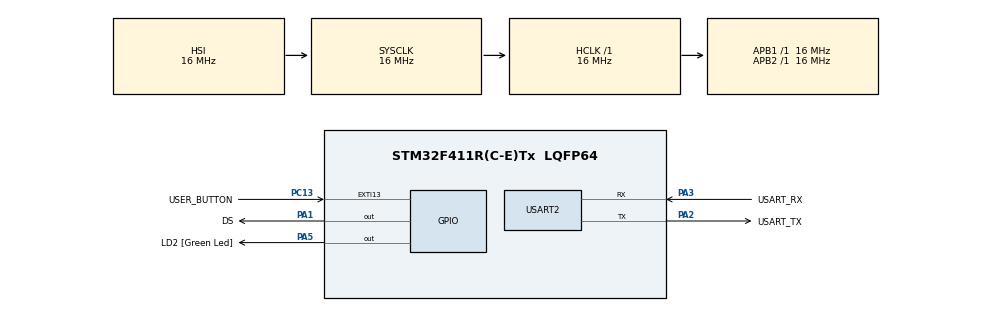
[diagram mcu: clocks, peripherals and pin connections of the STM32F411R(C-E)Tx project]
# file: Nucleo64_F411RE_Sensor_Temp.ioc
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Mcu.Family=STM32F4
Mcu.Name=STM32F411R(C-E)Tx
Mcu.Package=LQFP64
NVIC.EXTI15_10_IRQn=true\:8\:0\:true\:false\:true\:true\:true
NVIC.PriorityGroup=NVIC_PRIORITYGROUP_4
NVIC.RTC_WKUP_IRQn=true\:0\:0\:false\:false\:true\:true\:true
PA1.GPIO_Label=DS
PA1.GPIO_ModeDefaultOutputPP=GPIO_MODE_OUTPUT_OD
PA1.GPIO_PuPd=GPIO_PULLUP
PA1.Signal=GPIO_Output
PA13.GPIO_Label=TMS
PA13.Mode=Serial_Wire
PA13.Signal=SYS_JTMS-SWDIO
PA14.GPIO_Label=TCK
PA14.Mode=Serial_Wire
PA14.Signal=SYS_JTCK-SWCLK
PA2.GPIO_Label=USART_TX
PA2.Mode=Asynchronous
PA2.Signal=USART2_TX
PA3.GPIO_Label=USART_RX
PA3.Mode=Asynchronous
PA3.Signal=USART2_RX
PA5.GPIO_Label=LD2 [Green Led]
PA5.Signal=GPIO_Output
PB3.GPIO_Label=SWO
PB3.Signal=SYS_JTDO-SWO
PC13-ANTI_TAMP.GPIO_Label=USER_BUTTON
PC13-ANTI_TAMP.Signal=GPXTI13
PC14-OSC32_IN.Mode=LSE-External-Oscillator
PC14-OSC32_IN.Signal=RCC_OSC32_IN
PC15-OSC32_OUT.Mode=LSE-External-Oscillator
PC15-OSC32_OUT.Signal=RCC_OSC32_OUT
PH0\ -\ OSC_IN.Mode=HSE-External-Clock-Source
PH0\ -\ OSC_IN.Signal=RCC_OSC_IN
PH1\ -\ OSC_OUT.Mode=HSE-External-Clock-Source
PH1\ -\ OSC_OUT.Signal=RCC_OSC_OUT
ProjectManager.HeapSize=0x200
ProjectManager.StackSize=0x400
ProjectManager.TargetToolchain=STM32CubeIDE
RCC.48MHZClocksFreq_Value=25000000
RCC.AHBFreq_Value=16000000
RCC.APB1Freq_Value=16000000
RCC.APB1TimFreq_Value=16000000
RCC.APB2Freq_Value=16000000
RCC.APB2TimFreq_Value=16000000
RCC.CortexFreq_Value=16000000
RCC.HCLKFreq_Value=16000000
RCC.HSE_VALUE=25000000
RCC.HSI_VALUE=16000000
RCC.PLLM=8
RCC.PLLN=50
RCC.RCC_RTC_Clock_Source=RCC_RTCCLKSOURCE_LSE
RCC.RCC_RTC_Clock_SourceVirtual=RCC_RTCCLKSOURCE_LSE
RCC.SYSCLKFreq_VALUE=16000000
RCC.VCOOutputFreq_Value=100000000
RTC.WakeUpClock=RTC_WAKEUPCLOCK_CK_SPRE_16BITS
RTC.WakeUpCounter=4
TIM3.Prescaler=15
USART1.VirtualMode=VM_ASYNC
USART2.VirtualMode=VM_ASYNC
VP_RTC_VS_RTC_Activate.Mode=RTC_Enabled
VP_RTC_VS_RTC_WakeUp_intern.Mode=WakeUp
VP_TIM3_VS_ClockSourceINT.Mode=Internal
board=NUCLEO-F411RE

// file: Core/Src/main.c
/* USER CODE BEGIN Header */
/**
  ******************************************************************************
  * @file           : main.c
  * @brief          : Main program body
  ******************************************************************************
  * @attention
  *
  * Copyright (c) 2022 STMicroelectronics.
  * All rights reserved.
  *
  * This software is licensed under terms that can be found in the LICENSE file
  * in the root directory of this software component.
  * If no LICENSE file comes with this software, it is provided AS-IS.
  *
  ******************************************************************************
  * See https://forbot.pl/blog/kurs-stm32l4-termometry-ds18b20-1-wire-uart-id47771
  * See https://forbot.pl/blog/kurs-stm32l4-oszczedzanie-energii-5-lat-na-baterii-id46581
  */
/* USER CODE END Header */
#include "main.h"

/* USER CODE BEGIN Includes */
#include <stdio.h>
// #include <stdlib.h>
#include <string.h>
/* USER CODE END Includes */

/* USER CODE BEGIN PD */
// set to 1 to use microsecond delay, set to 0 to use 1-wire USART communication:
#define US_CLOCK_DELAY (1)
// set to zero if messaging USART is not to be used:
#define COMM_USART_ENABLED (1)
/* USER CODE END PD */

RTC_HandleTypeDef hrtc;

TIM_HandleTypeDef htim3;

UART_HandleTypeDef huart1;
UART_HandleTypeDef huart2;

void SystemClock_Config(void);
static void MX_GPIO_Init(void);
static void MX_TIM3_Init(void);
static void MX_RTC_Init(void);
static void MX_USART2_UART_Init(void);

/* USER CODE BEGIN 0 */

int __io_putchar(int ch)
{
#if COMM_USART_ENABLED
  if (ch == '\n') {
    __io_putchar('\r');
  }
  HAL_UART_Transmit(&huart2, (uint8_t*)&ch, 1, HAL_MAX_DELAY);
#endif
  return 1;
}

void HAL_Delay(uint32_t Delay)
{
  uint32_t tickstart = HAL_GetTick();
  uint32_t wait = Delay;

  /* Add a period to guaranty minimum wait */
  if (wait < HAL_MAX_DELAY)
  {
    wait += (uint32_t)uwTickFreq;
  }

  while ((HAL_GetTick() - tickstart) < wait)
  {
	  __WFI();
  }
}

void delay_us(uint32_t us)
{
  // TODO: assert: 'us' must be smaller than 2^16, this is max counter period for 16-bit timers
  __HAL_TIM_SET_COUNTER(&htim3, 0);
  while ((__HAL_TIM_GET_COUNTER(&htim3)) < us) {  }
}

#if ! US_CLOCK_DELAY
static void set_baudrate(uint32_t baudrate)
{
	huart1.Instance = USART1;
	huart1.Init.BaudRate = baudrate;
	huart1.Init.WordLength = UART_WORDLENGTH_8B;
	huart1.Init.StopBits = UART_STOPBITS_1;
	huart1.Init.Parity = UART_PARITY_NONE;
	huart1.Init.Mode = UART_MODE_TX_RX;
	huart1.Init.HwFlowCtl = UART_HWCONTROL_NONE;
	huart1.Init.OverSampling = UART_OVERSAMPLING_16;
	if (HAL_HalfDuplex_Init(&huart1) != HAL_OK)
	{
		Error_Handler();
	}
}
#endif

HAL_StatusTypeDef wire_reset(void)
{
#if US_CLOCK_DELAY
	  int rc;

	  HAL_GPIO_WritePin(DS_GPIO_Port, DS_Pin, GPIO_PIN_RESET);
	  delay_us(480);
	  HAL_GPIO_WritePin(DS_GPIO_Port, DS_Pin, GPIO_PIN_SET);
	  delay_us(70);
	  rc = HAL_GPIO_ReadPin(DS_GPIO_Port, DS_Pin);
	  delay_us(410);

	  if (rc == 0)
	    return HAL_OK;
	  else
	    return HAL_ERROR;
#else
  uint8_t data_out = 0xF0;
  uint8_t data_in = 0;

  set_baudrate(9600);
  HAL_UART_Transmit(&huart1, &data_out, 1, HAL_MAX_DELAY);
  HAL_UART_Receive(&huart1, &data_in, 1, HAL_MAX_DELAY);
  set_baudrate(115200);

  if (data_in != 0xF0)
    return HAL_OK;
  else
    return HAL_ERROR;
#endif
}

static void write_bit(int value)
{
#if US_CLOCK_DELAY
	  if (value) {
	    HAL_GPIO_WritePin(DS_GPIO_Port, DS_Pin, GPIO_PIN_RESET);
	    delay_us(6);
	    HAL_GPIO_WritePin(DS_GPIO_Port, DS_Pin, GPIO_PIN_SET);
	    delay_us(64);
	  } else {
	    HAL_GPIO_WritePin(DS_GPIO_Port, DS_Pin, GPIO_PIN_RESET);
	    delay_us(60);
	    HAL_GPIO_WritePin(DS_GPIO_Port, DS_Pin, GPIO_PIN_SET);
	    delay_us(10);
	  }
#else
  if (value) {
      uint8_t data_out = 0xff;
    HAL_UART_Transmit(&huart1, &data_out, 1, HAL_MAX_DELAY);
  } else {
      uint8_t data_out = 0x0;
    HAL_UART_Transmit(&huart1, &data_out, 1, HAL_MAX_DELAY);
  }
#endif
}

static int read_bit(void)
{
#if US_CLOCK_DELAY
	  int rc;
	  HAL_GPIO_WritePin(DS_GPIO_Port, DS_Pin, GPIO_PIN_RESET);
	  delay_us(6);
	  HAL_GPIO_WritePin(DS_GPIO_Port, DS_Pin, GPIO_PIN_SET);
	  delay_us(9);
	  rc = HAL_GPIO_ReadPin(DS_GPIO_Port, DS_Pin);
	  delay_us(55);
	  return rc;
#else
  uint8_t data_out = 0xFF;
  uint8_t data_in = 0;
  HAL_UART_Transmit(&huart1, &data_out, 1, HAL_MAX_DELAY);
  HAL_UART_Receive(&huart1, &data_in, 1, HAL_MAX_DELAY);
  return data_in & 0x01;
#endif
}

HAL_StatusTypeDef wire_init(void)
{
  return HAL_TIM_Base_Start(&htim3);
}

uint8_t wire_read(void)
{
  uint8_t value = 0;
  int i;
  for (i = 0; i < 8; i++) {
    value >>= 1;
    if (read_bit())
      value |= 0x80;
  }
  return value;
}

void wire_read_buf(uint8_t * buf, int len)
{
    for (int i = 0; i < len; i++) {
      buf[i] = wire_read();
    }
}

void wire_write(uint8_t byte)
{
  int i;
  for (i = 0; i < 8; i++) {
    write_bit(byte & 0x01);
    byte >>= 1;
  }
}

static uint8_t byte_crc(uint8_t crc, uint8_t byte)
{
  int i;
  for (i = 0; i < 8; i++) {
    uint8_t b = crc ^ byte;
    crc >>= 1;
    if (b & 0x01)
      crc ^= 0x8c;
    byte >>= 1;
  }
  return crc;
}

uint8_t wire_crc(const uint8_t* data, int len)
{
  int i;
    uint8_t crc = 0;

    for (i = 0; i < len; i++)
      crc = byte_crc(crc, data[i]);

    return crc;
}

#define DS18B20_ROM_CODE_SIZE		8
#define DS18B20_SCRATCHPAD_SIZE    9
#define DS18B20_READ_ROM           0x33
#define DS18B20_MATCH_ROM          0x55
#define DS18B20_SKIP_ROM           0xCC
#define DS18B20_CONVERT_T          0x44
#define DS18B20_READ_SCRATCHPAD    0xBE

HAL_StatusTypeDef ds18b20_init(void)
{
  return wire_init();
}

HAL_StatusTypeDef ds18b20_read_address(uint8_t* rom_code)
{
  int i;
  uint8_t crc;

  if (wire_reset() != HAL_OK)
    return HAL_ERROR;

  wire_write(DS18B20_READ_ROM);

  for (i = 0; i < DS18B20_ROM_CODE_SIZE; i++)
    rom_code[i] = wire_read();

  crc = wire_crc(rom_code, DS18B20_ROM_CODE_SIZE - 1);
  if (rom_code[DS18B20_ROM_CODE_SIZE - 1] == crc)
    return HAL_OK;
  else
    return HAL_ERROR;
}

static HAL_StatusTypeDef send_cmd(const uint8_t* rom_code, uint8_t cmd)
{
  int i;

  if (wire_reset() != HAL_OK)
    return HAL_ERROR;

  if (!rom_code) {
    wire_write(DS18B20_SKIP_ROM);
  } else {
    wire_write(DS18B20_MATCH_ROM);
    for (i = 0; i < DS18B20_ROM_CODE_SIZE; i++)
      wire_write(rom_code[i]);
  }
  wire_write(cmd);
  return HAL_OK;
}

HAL_StatusTypeDef ds18b20_start_measure(const uint8_t* rom_code)
{
  return send_cmd(rom_code, DS18B20_CONVERT_T);
}

static HAL_StatusTypeDef ds18b20_read_scratchpad(const uint8_t* rom_code, uint8_t* scratchpad)
{
  int i;
  uint8_t crc;

  if (send_cmd(rom_code, DS18B20_READ_SCRATCHPAD) != HAL_OK)
    return HAL_ERROR;

  for (i = 0; i < DS18B20_SCRATCHPAD_SIZE; i++)
    scratchpad[i] = wire_read();

  crc = wire_crc(scratchpad, DS18B20_SCRATCHPAD_SIZE - 1);
  if (scratchpad[DS18B20_SCRATCHPAD_SIZE - 1] == crc)
    return HAL_OK;
  else
    return HAL_ERROR;
}

float ds18b20_get_temp(const uint8_t* rom_code)
{
  uint8_t scratchpad[DS18B20_SCRATCHPAD_SIZE];
  int16_t temp;

  if (ds18b20_read_scratchpad(rom_code, scratchpad) != HAL_OK)
    return 85.0f;

  memcpy(&temp, &scratchpad[0], sizeof(temp));

  return temp / 16.0f;
}

volatile uint32_t push_counter;
void HAL_GPIO_EXTI_Callback(uint16_t GPIO_Pin)
{
  if (GPIO_Pin == USER_BUTTON_Pin) {
	  push_counter ++;
  }
}
/* USER CODE END 0 */

int main(void)
{

  /* MCU Configuration--------------------------------------------------------*/

  /* Reset of all peripherals, Initializes the Flash interface and the Systick. */
  HAL_Init();

  /* USER CODE BEGIN Init */
  volatile uint32_t *DWT_CONTROL = (uint32_t *) 0xE0001000;
  volatile uint32_t *DWT_CYCCNT = (uint32_t *) 0xE0001004;
  volatile uint32_t *DEMCR = (uint32_t *) 0xE000EDFC;
  volatile uint32_t *LAR  = (uint32_t *) 0xE0001FB0;   // <-- added lock access register

  *DEMCR = *DEMCR | 0x01000000;     // enable trace
  *LAR = 0xC5ACCE55;                // <-- added unlock access to DWT (ITM, etc.)registers
  *DWT_CYCCNT = 0;                  // clear DWT cycle counter
  *DWT_CONTROL = *DWT_CONTROL | 1;  // enable DWT cycle counter
  /* USER CODE END Init */

  /* Configure the system clock */
  SystemClock_Config();

  /* USER CODE BEGIN SysInit */
  unsigned long int dwt_cnt_start = DWT->CYCCNT;
  // HAL_Delay(100);
  // unsigned int dwt_cnt_100ms = DWT->CYCCNT;

  /* USER CODE END SysInit */

  /* Initialize all configured peripherals */
  MX_GPIO_Init();
  MX_TIM3_Init();
  MX_RTC_Init();
  MX_USART2_UART_Init();
  /* USER CODE BEGIN 2 */
  // printf("##  100ms ticks: %lu\n", (dwt_cnt_100ms - dwt_cnt_start));
  // printf("##  Init ticks: %lu\n", (DWT->CYCCNT - dwt_cnt_start));

  // "hello" blinks - disable for now, we need to conserve power
  // printf("Hello!\n");
  // for (int i = 0; i < 6; i++) {
  //   HAL_GPIO_TogglePin(LD2_GPIO_Port, LD2_Pin);
  //   HAL_Delay(20);
  // }

  if (ds18b20_init() != HAL_OK) {
    Error_Handler();
  }
  // printf("##  Init DS ticks: %lu\n", (DWT->CYCCNT - dwt_cnt_start));

#if 0
  uint8_t ds1[DS18B20_ROM_CODE_SIZE];
  if (ds18b20_read_address(ds1) != HAL_OK) {
    Error_Handler();
  }
#endif

  const uint8_t ds1[] = { 0x28, 0xFF, 0xF2, 0xB5, 0x50, 0x16, 0x03, 0xA2 };
  const uint8_t ds2[] = { 0x28, 0x21, 0x20, 0xD6, 0x07, 0x00, 0x00, 0x15 };

  ds18b20_start_measure(ds1);
  // printf("##  Start measure 1: %lu\n", (DWT->CYCCNT - dwt_cnt_start));
  ds18b20_start_measure(ds2);
  // printf("##  Start measure 2: %lu\n", (DWT->CYCCNT - dwt_cnt_start));
  HAL_Delay(750);
  // printf("##  Measure delay: %lu\n", (DWT->CYCCNT - dwt_cnt_start));

  float temp = ds18b20_get_temp(ds1);
  // printf("##  Get temp 1: %lu\n", (DWT->CYCCNT - dwt_cnt_start));
  if (temp <= -80.0f) {
    printf("Sensor error (1)...\n");
  } else {
    printf("T1 = %.1f*C\n", temp);
  }
  // printf("##  Temp 1: %lu\n", (DWT->CYCCNT - dwt_cnt_start));

  temp = ds18b20_get_temp(ds2);
  // printf("##  Get temp 2: %lu\n", (DWT->CYCCNT - dwt_cnt_start));
  if (temp <= -80.0f) {
    printf("Sensor error (2)...\n");
  } else {
    printf("T2 = %.1f*C\n", temp);
  }
  // printf("##  Temp 2: %lu\n", (DWT->CYCCNT - dwt_cnt_start));

  // short blink to acknowledge we are alive:
  // - apparently 100us is enough and still visible, how low can we go?
  HAL_GPIO_TogglePin(LD2_GPIO_Port, LD2_Pin);
  // HAL_Delay(1);
  delay_us(100);
  HAL_GPIO_TogglePin(LD2_GPIO_Port, LD2_Pin);
  printf("##  Toggled: %lu\n", (DWT->CYCCNT - dwt_cnt_start));

  // Enter the Standby mode
  __HAL_PWR_CLEAR_FLAG(PWR_FLAG_WU);
  __HAL_RTC_WAKEUPTIMER_CLEAR_FLAG(&hrtc, RTC_FLAG_WUTF);
  HAL_PWR_EnterSTANDBYMode();

  /* USER CODE END 2 */

  /* Infinite loop */
  /* USER CODE BEGIN WHILE */
  while (1)
  {
#if 0
	  ds18b20_start_measure(ds1);
	  ds18b20_start_measure(ds2);
	  HAL_Delay(750);

	  float temp = ds18b20_get_temp(ds1);
	  if (temp <= -80.0f) {
	    printf("Sensor error (1)...\n");
	  } else {
	    printf("T1 = %.1f*C\n", temp);
	  }

	  temp = ds18b20_get_temp(ds2);
	  if (temp <= -80.0f) {
	    printf("Sensor error (2)...\n");
	  } else {
	    printf("T2 = %.1f*C\n", temp);
	  }

	  HAL_Delay(5000);
	  HAL_GPIO_TogglePin(LD2_GPIO_Port, LD2_Pin);
	  HAL_Delay(100);
	  HAL_GPIO_TogglePin(LD2_GPIO_Port, LD2_Pin);
	  HAL_Delay(100);
#endif
    /* USER CODE END WHILE */

    /* USER CODE BEGIN 3 */
	  // printf("systick = %lu\n", HAL_GetTick());
	  // printf("counter = %lu\n", push_counter);
#if 0
		HAL_GPIO_WritePin(LD2_GPIO_Port, LD2_Pin, GPIO_PIN_SET);
		HAL_Delay(500);
		// delay_us(200 * 1000);
		HAL_GPIO_WritePin(LD2_GPIO_Port, LD2_Pin, GPIO_PIN_RESET);
		HAL_Delay(500);
		// delay_us(200 * 1000);
#endif
#if 0
		  RTC_TimeTypeDef time;
		  RTC_DateTypeDef date;
		  HAL_RTC_GetTime(&hrtc, &time, RTC_FORMAT_BIN);
		  HAL_RTC_GetDate(&hrtc, &date, RTC_FORMAT_BIN);
		  printf("Current time: %02d:%02d:%02d\n", time.Hours, time.Minutes, time.Seconds);
#endif
#if 0
		  ds18b20_start_measure(NULL);

		  HAL_Delay(750);

		  float temp = ds18b20_get_temp(NULL);
		  if (temp >= 80.0f)
		    printf("Sensor error...\n");
		  else
		    printf("T1 = %.1f*C\n", temp);
#endif
  }
  /* USER CODE END 3 */
}

void SystemClock_Config(void)
{
  RCC_OscInitTypeDef RCC_OscInitStruct = {0};
  RCC_ClkInitTypeDef RCC_ClkInitStruct = {0};

  /** Configure the main internal regulator output voltage
  */
  __HAL_RCC_PWR_CLK_ENABLE();
  __HAL_PWR_VOLTAGESCALING_CONFIG(PWR_REGULATOR_VOLTAGE_SCALE1);
  /** Initializes the RCC Oscillators according to the specified parameters
  * in the RCC_OscInitTypeDef structure.
  */
  RCC_OscInitStruct.OscillatorType = RCC_OSCILLATORTYPE_HSI|RCC_OSCILLATORTYPE_LSE;
  RCC_OscInitStruct.LSEState = RCC_LSE_ON;
  RCC_OscInitStruct.HSIState = RCC_HSI_ON;
  RCC_OscInitStruct.HSICalibrationValue = RCC_HSICALIBRATION_DEFAULT;
  RCC_OscInitStruct.PLL.PLLState = RCC_PLL_NONE;
  if (HAL_RCC_OscConfig(&RCC_OscInitStruct) != HAL_OK)
  {
    Error_Handler();
  }
  /** Initializes the CPU, AHB and APB buses clocks
  */
  RCC_ClkInitStruct.ClockType = RCC_CLOCKTYPE_HCLK|RCC_CLOCKTYPE_SYSCLK
                              |RCC_CLOCKTYPE_PCLK1|RCC_CLOCKTYPE_PCLK2;
  RCC_ClkInitStruct.SYSCLKSource = RCC_SYSCLKSOURCE_HSI;
  RCC_ClkInitStruct.AHBCLKDivider = RCC_SYSCLK_DIV1;
  RCC_ClkInitStruct.APB1CLKDivider = RCC_HCLK_DIV1;
  RCC_ClkInitStruct.APB2CLKDivider = RCC_HCLK_DIV1;

  if (HAL_RCC_ClockConfig(&RCC_ClkInitStruct, FLASH_LATENCY_0) != HAL_OK)
  {
    Error_Handler();
  }
}

static void MX_RTC_Init(void)
{

  RTC_TimeTypeDef sTime = {0};
  RTC_DateTypeDef sDate = {0};

  /** Initialize RTC Only
  */
  hrtc.Instance = RTC;
  hrtc.Init.HourFormat = RTC_HOURFORMAT_24;
  hrtc.Init.AsynchPrediv = 127;
  hrtc.Init.SynchPrediv = 255;
  hrtc.Init.OutPut = RTC_OUTPUT_DISABLE;
  hrtc.Init.OutPutPolarity = RTC_OUTPUT_POLARITY_HIGH;
  hrtc.Init.OutPutType = RTC_OUTPUT_TYPE_OPENDRAIN;
  if (HAL_RTC_Init(&hrtc) != HAL_OK)
  {
    Error_Handler();
  }

  /** Initialize RTC and set the Time and Date
  */
  sTime.Hours = 0x0;
  sTime.Minutes = 0x0;
  sTime.Seconds = 0x0;
  sTime.DayLightSaving = RTC_DAYLIGHTSAVING_NONE;
  sTime.StoreOperation = RTC_STOREOPERATION_RESET;
  if (HAL_RTC_SetTime(&hrtc, &sTime, RTC_FORMAT_BCD) != HAL_OK)
  {
    Error_Handler();
  }
  sDate.WeekDay = RTC_WEEKDAY_MONDAY;
  sDate.Month = RTC_MONTH_JANUARY;
  sDate.Date = 0x1;
  sDate.Year = 0x0;

  if (HAL_RTC_SetDate(&hrtc, &sDate, RTC_FORMAT_BCD) != HAL_OK)
  {
    Error_Handler();
  }
  /** Enable the WakeUp
  */
  if (HAL_RTCEx_SetWakeUpTimer_IT(&hrtc, 4, RTC_WAKEUPCLOCK_CK_SPRE_16BITS) != HAL_OK)
  {
    Error_Handler();
  }

}

static void MX_TIM3_Init(void)
{

  TIM_ClockConfigTypeDef sClockSourceConfig = {0};
  TIM_MasterConfigTypeDef sMasterConfig = {0};

  htim3.Instance = TIM3;
  htim3.Init.Prescaler = 15;
  htim3.Init.CounterMode = TIM_COUNTERMODE_UP;
  htim3.Init.Period = 65535;
  htim3.Init.ClockDivision = TIM_CLOCKDIVISION_DIV1;
  htim3.Init.AutoReloadPreload = TIM_AUTORELOAD_PRELOAD_DISABLE;
  if (HAL_TIM_Base_Init(&htim3) != HAL_OK)
  {
    Error_Handler();
  }
  sClockSourceConfig.ClockSource = TIM_CLOCKSOURCE_INTERNAL;
  if (HAL_TIM_ConfigClockSource(&htim3, &sClockSourceConfig) != HAL_OK)
  {
    Error_Handler();
  }
  sMasterConfig.MasterOutputTrigger = TIM_TRGO_RESET;
  sMasterConfig.MasterSlaveMode = TIM_MASTERSLAVEMODE_DISABLE;
  if (HAL_TIMEx_MasterConfigSynchronization(&htim3, &sMasterConfig) != HAL_OK)
  {
    Error_Handler();
  }

}

static void MX_USART2_UART_Init(void)
{

  huart2.Instance = USART2;
  huart2.Init.BaudRate = 115200;
  huart2.Init.WordLength = UART_WORDLENGTH_8B;
  huart2.Init.StopBits = UART_STOPBITS_1;
  huart2.Init.Parity = UART_PARITY_NONE;
  huart2.Init.Mode = UART_MODE_TX_RX;
  huart2.Init.HwFlowCtl = UART_HWCONTROL_NONE;
  huart2.Init.OverSampling = UART_OVERSAMPLING_16;
  if (HAL_UART_Init(&huart2) != HAL_OK)
  {
    Error_Handler();
  }

}

static void MX_GPIO_Init(void)
{
  GPIO_InitTypeDef GPIO_InitStruct = {0};

  /* GPIO Ports Clock Enable */
  __HAL_RCC_GPIOC_CLK_ENABLE();
  __HAL_RCC_GPIOH_CLK_ENABLE();
  __HAL_RCC_GPIOA_CLK_ENABLE();
  __HAL_RCC_GPIOB_CLK_ENABLE();

  /*Configure GPIO pin Output Level */
  HAL_GPIO_WritePin(GPIOA, DS_Pin|LD2_Pin, GPIO_PIN_RESET);

  /*Configure GPIO pin : USER_BUTTON_Pin */
  GPIO_InitStruct.Pin = USER_BUTTON_Pin;
  GPIO_InitStruct.Mode = GPIO_MODE_IT_RISING;
  GPIO_InitStruct.Pull = GPIO_NOPULL;
  HAL_GPIO_Init(USER_BUTTON_GPIO_Port, &GPIO_InitStruct);

  /*Configure GPIO pin : DS_Pin */
  GPIO_InitStruct.Pin = DS_Pin;
  GPIO_InitStruct.Mode = GPIO_MODE_OUTPUT_OD;
  GPIO_InitStruct.Pull = GPIO_PULLUP;
  GPIO_InitStruct.Speed = GPIO_SPEED_FREQ_LOW;
  HAL_GPIO_Init(DS_GPIO_Port, &GPIO_InitStruct);

  /*Configure GPIO pin : LD2_Pin */
  GPIO_InitStruct.Pin = LD2_Pin;
  GPIO_InitStruct.Mode = GPIO_MODE_OUTPUT_PP;
  GPIO_InitStruct.Pull = GPIO_NOPULL;
  GPIO_InitStruct.Speed = GPIO_SPEED_FREQ_LOW;
  HAL_GPIO_Init(LD2_GPIO_Port, &GPIO_InitStruct);

  /* EXTI interrupt init*/
  HAL_NVIC_SetPriority(EXTI15_10_IRQn, 8, 0);
  HAL_NVIC_EnableIRQ(EXTI15_10_IRQn);

}

void Error_Handler(void)
{
  __disable_irq();
  while (1)
  {
  }
}
